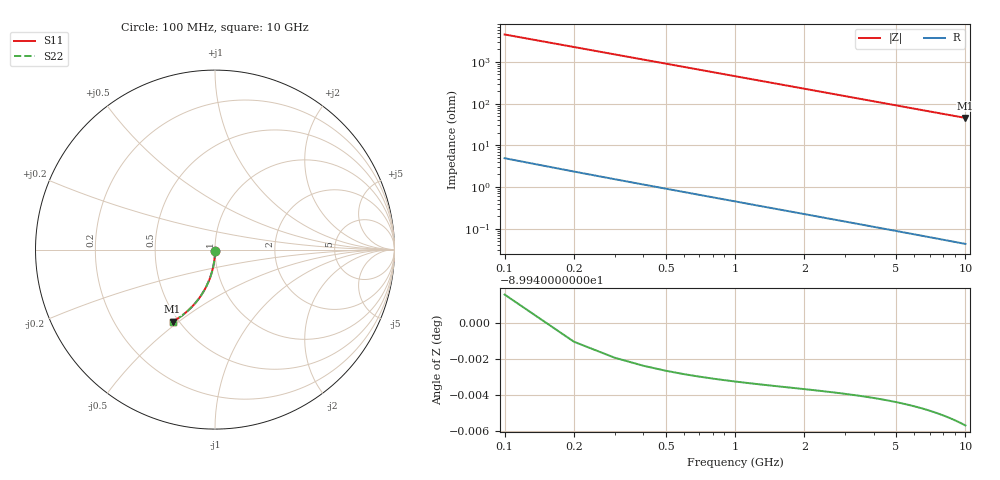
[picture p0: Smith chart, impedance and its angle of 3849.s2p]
# Hz S RI R 50.00
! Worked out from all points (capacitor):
!   100 points, 100 MHz to 10 GHz, reference 50 ohm
!   read as one part in shunt: C = 349 fF near 100 MHz
!   lowest |Z| = 45.4 ohm at 10 GHz (marker M1)
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1e8  3.54e-05 -0.00525  0.9999 -0.00571  0.9999 -0.00571  3.54e-05 -0.00525
2e8  -5.95e-05 -0.0105  0.9998 -0.0114  0.9998 -0.0114  -5.95e-05 -0.0105
3e8  -0.000215 -0.0158  0.9996 -0.0171  0.9996 -0.0171  -0.000215 -0.0158
4e8  -0.00043 -0.021  0.9994 -0.0228  0.9994 -0.0228  -0.00043 -0.021
5e8  -0.000705 -0.0263  0.9991 -0.0285  0.9991 -0.0285  -0.000705 -0.0263
6e8  -0.00104 -0.0315  0.9988 -0.0342  0.9988 -0.0342  -0.00104 -0.0315
7e8  -0.00143 -0.0367  0.9984 -0.0399  0.9984 -0.0399  -0.00143 -0.0367
8e8  -0.00189 -0.042  0.998 -0.0456  0.998 -0.0456  -0.00189 -0.042
9e8  -0.0024 -0.0472  0.9974 -0.0513  0.9974 -0.0513  -0.0024 -0.0472
1.1e9  -0.00361 -0.0576  0.9962 -0.0626  0.9962 -0.0626  -0.00361 -0.0576
1.4e9  -0.00586 -0.0732  0.994 -0.0796  0.994 -0.0796  -0.00586 -0.0732
1.8e9  -0.00968 -0.0937  0.9901 -0.102  0.9901 -0.102  -0.00968 -0.0937
2.1e9  -0.0131 -0.109  0.9867 -0.1186  0.9867 -0.1186  -0.0131 -0.109
2.5e9  -0.0185 -0.1291  0.9812 -0.1405  0.9812 -0.1405  -0.0185 -0.1291
2.9e9  -0.0248 -0.1488  0.9749 -0.1621  0.9749 -0.1621  -0.0248 -0.1488
3.4e9  -0.0339 -0.1729  0.9659 -0.1885  0.9659 -0.1885  -0.0339 -0.1729
4.2e9  -0.0509 -0.2099  0.9488 -0.2292  0.9488 -0.2292  -0.0509 -0.2099
5.1e9  -0.0734 -0.249  0.9261 -0.2724  0.9261 -0.2724  -0.0734 -0.249
5.9e9  -0.0961 -0.281  0.9034 -0.3082  0.9034 -0.3082  -0.0961 -0.281
6.7e9  -0.1209 -0.3104  0.8785 -0.3413  0.8785 -0.3413  -0.1209 -0.3104
8.4e9  -0.1786 -0.3634  0.8205 -0.4024  0.8205 -0.4024  -0.1786 -0.3634
1e10  -0.2366 -0.4015  0.7622 -0.4482  0.7622 -0.4482  -0.2366 -0.4015
